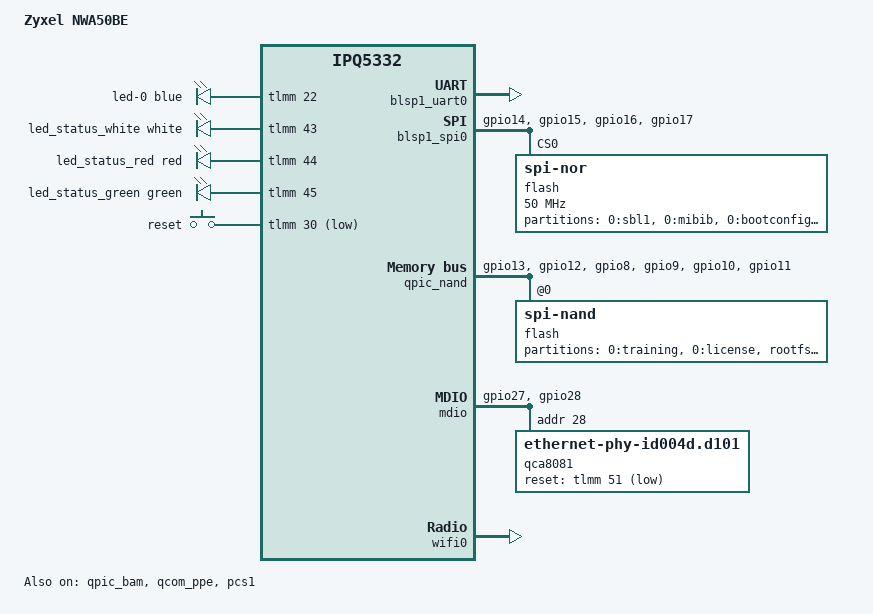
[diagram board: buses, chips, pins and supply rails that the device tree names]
// SPDX-License-Identifier: GPL-2.0-or-later OR MIT

/dts-v1/;

#include <arm64/qcom/ipq5332.dtsi>
#include <dt-bindings/gpio/gpio.h>
#include <dt-bindings/input/input.h>
#include <dt-bindings/leds/common.h>

/ {
	model = "Zyxel NWA50BE";
	compatible = "zyxel,nwa50be", "qcom,ipq5332";

	aliases {
		serial0 = &blsp1_uart0;
		led-boot = &led_status_green;
		led-failsafe = &led_status_red;
		led-running = &led_status_green;
		led-upgrade = &led_status_white;
		label-mac-device = &port_uplink;
	};

	chosen {
		stdout-path = "serial0:115200n8";
		bootargs-append = " root=/dev/ubiblock0_1";
	};

	reserved-memory {
		m3_dump: m3-dump@4d400000 {
			reg = <0x0 0x4d400000 0x0 0x100000>;
			no-map;
		};

		q6_caldb: q6-caldb@4d500000 {
			reg = <0x0 0x4d500000 0x0 0x500000>;
			no-map;
		};

		mlo_mem: mlo-global-mem@4db00000 {
			reg = <0x0 0x4db00000 0x0 0x1200000>;
			no-map;
		};
	};

	leds {
		compatible = "gpio-leds";
		pinctrl-0 = <&led_pins>;
		pinctrl-names = "default";

		led-0 {
			color = <LED_COLOR_ID_BLUE>;
			function = LED_FUNCTION_STATUS;
			gpios = <&tlmm 22 GPIO_ACTIVE_HIGH>;
		};

		led_status_white: led-1 {
			color = <LED_COLOR_ID_WHITE>;
			function = LED_FUNCTION_STATUS;
			gpios = <&tlmm 43 GPIO_ACTIVE_HIGH>;
		};

		led_status_red: led-2 {
			color = <LED_COLOR_ID_RED>;
			function = LED_FUNCTION_STATUS;
			gpios = <&tlmm 44 GPIO_ACTIVE_HIGH>;
		};

		led_status_green: led-3 {
			color = <LED_COLOR_ID_GREEN>;
			function = LED_FUNCTION_STATUS;
			gpios = <&tlmm 45 GPIO_ACTIVE_HIGH>;
		};
	};

	keys {
		compatible = "gpio-keys";
		pinctrl-0 = <&button_pins>;
		pinctrl-names = "default";

		reset-button {
			label = "reset";
			linux,code = <KEY_RESTART>;
			gpios = <&tlmm 30 GPIO_ACTIVE_LOW>;
			debounce-interval = <60>;
		};
	};
};

&blsp1_uart0 {
	pinctrl-0 = <&serial_0_pins>;
	pinctrl-names = "default";
	status = "okay";
};

&sleep_clk {
	clock-frequency = <32000>;
};

&xo_board {
	clock-frequency = <24000000>;
};

&blsp1_spi0 {
	pinctrl-0 = <&spi_0_data_clk_pins &spi_0_cs_pins>;
	pinctrl-names = "default";
	status = "okay";

	flash@0 {
		compatible = "jedec,spi-nor";
		reg = <0>;
		spi-max-frequency = <50000000>;

		partitions {
			compatible = "fixed-partitions";
			#address-cells = <1>;
			#size-cells = <1>;

			partition@0 {
				label = "0:sbl1";
				reg = <0x000000 0x080000>;
				read-only;
			};

			partition@80000 {
				label = "0:mibib";
				reg = <0x080000 0x010000>;
				read-only;
			};

			partition@90000 {
				label = "0:bootconfig";
				reg = <0x090000 0x010000>;
			};

			partition@a0000 {
				label = "0:qsee";
				reg = <0x0a0000 0x170000>;
				read-only;
			};

			partition@210000 {
				label = "0:devcfg";
				reg = <0x210000 0x010000>;
				read-only;
			};

			partition@220000 {
				label = "0:tme";
				reg = <0x220000 0x020000>;
				read-only;
			};

			partition@240000 {
				label = "0:cdt";
				reg = <0x240000 0x010000>;
				read-only;
			};

			partition@250000 {
				label = "0:appsblenv";
				reg = <0x250000 0x010000>;
			};

			partition@260000 {
				label = "0:appsbl";
				reg = <0x260000 0x0a0000>;
				read-only;
			};

			partition@300000 {
				label = "0:art";
				reg = <0x300000 0x100000>;
				read-only;
			};

			partition@400000 {
				label = "0:bootconfig1";
				reg = <0x400000 0x010000>;
			};

			partition@410000 {
				label = "0:qsee_1";
				reg = <0x410000 0x170000>;
				read-only;
			};

			partition@580000 {
				label = "0:devcfg_1";
				reg = <0x580000 0x010000>;
				read-only;
			};

			partition@590000 {
				label = "0:tme_1";
				reg = <0x590000 0x020000>;
				read-only;
			};

			partition@5b0000 {
				label = "0:cdt_1";
				reg = <0x5b0000 0x010000>;
				read-only;
			};

			partition@5c0000 {
				label = "0:appsbl_1";
				reg = <0x5c0000 0x0a0000>;
				read-only;
			};

			partition@660000 {
				label = "mrd";
				reg = <0x660000 0x010000>;
				read-only;

				nvmem-layout {
					compatible = "fixed-layout";
					#address-cells = <1>;
					#size-cells = <1>;

					macaddr_mrd_fff8: macaddr@fff8 {
						compatible = "mac-base";
						reg = <0xfff8 0x6>;
						#nvmem-cell-cells = <1>;
					};
				};
			};

			partition@670000 {
				label = "mrd_1";
				reg = <0x670000 0x010000>;
				read-only;
			};

			partition@680000 {
				label = "reserved";
				reg = <0x680000 0x980000>;
				read-only;
			};
		};
	};
};

&qpic_bam {
	status = "okay";
};

&qpic_nand {
	pinctrl-0 = <&qspi_pins>;
	pinctrl-names = "default";
	status = "okay";

	flash@0 {
		compatible = "spi-nand";
		reg = <0>;
		nand-ecc-engine = <&qpic_nand>;
		nand-ecc-strength = <8>;
		nand-ecc-step-size = <512>;

		partitions {
			compatible = "fixed-partitions";
			#address-cells = <1>;
			#size-cells = <1>;

			partition@0 {
				label = "0:training";
				reg = <0x0000000 0x0080000>;
				read-only;
			};

			partition@80000 {
				label = "0:license";
				reg = <0x0080000 0x0040000>;
				read-only;
			};

			/* image0: U-Boot always passes ubi.mtd=rootfs */
			partition@c0000 {
				label = "rootfs";
				reg = <0x00c0000 0x4600000>;
				linux,rootfs;
			};

			/* image1 */
			partition@46c0000 {
				label = "rootfs_1";
				reg = <0x46c0000 0x4600000>;
			};

			partition@8cc0000 {
				label = "zyxel_rootfs_data";
				reg = <0x8cc0000 0x3c00000>;
				read-only;
			};

			partition@c8c0000 {
				label = "logs";
				reg = <0xc8c0000 0x2840000>;
			};

			partition@f100000 {
				label = "myzyxel";
				reg = <0xf100000 0x0f00000>;
				read-only;
			};
		};
	};
};

&mdio {
	pinctrl-0 = <&mdio1_pins>;
	pinctrl-names = "default";
	status = "okay";

	qca8081: ethernet-phy@1c {
		compatible = "ethernet-phy-id004d.d101";
		reg = <28>;
		reset-gpios = <&tlmm 51 GPIO_ACTIVE_LOW>;
		reset-assert-us = <10000>;
		reset-deassert-us = <150000>;

		leds {
			#address-cells = <1>;
			#size-cells = <0>;

			/* 2.5G link/activity */
			led@0 {
				reg = <0>;
				color = <LED_COLOR_ID_GREEN>;
				function = LED_FUNCTION_LAN;
				default-state = "keep";
			};

			/* 10/100/1000 link/activity */
			led@2 {
				reg = <2>;
				color = <LED_COLOR_ID_AMBER>;
				function = LED_FUNCTION_LAN;
				default-state = "keep";
			};
		};
	};
};

&q6v5_wcss {
	firmware-name = "ath12k/IPQ5332/hw1.0/q6_fw0.mdt";
	qcom,bootargs_smem = <507>;
	upd-firmware-names = "ath12k/IPQ5332/hw1.0/q6_fw1.mdt";
};

&qcom_ppe {
	status = "okay";

	ethernet-ports {
		#address-cells = <1>;
		#size-cells = <0>;

		port_uplink: port@2 {
			reg = <2>;
			label = "uplink";
			phy-mode = "sgmii";
			managed = "in-band-status";
			phy-handle = <&qca8081>;
			pcs-handle = <&pcs1_ch0>;
			nvmem-cells = <&macaddr_mrd_fff8 0>;
			nvmem-cell-names = "mac-address";
			clocks = <&nsscc NSS_CC_PORT2_MAC_CLK>,
				 <&nsscc NSS_CC_PORT2_RX_CLK>,
				 <&nsscc NSS_CC_PORT2_TX_CLK>;
			clock-names = "mac",
				      "rx",
				      "tx";
			resets = <&nsscc NSS_CC_PORT2_MAC_CLK_ARES>,
				 <&nsscc NSS_CC_PORT2_RX_CLK_ARES>,
				 <&nsscc NSS_CC_PORT2_TX_CLK_ARES>;
			reset-names = "mac",
				      "rx",
				      "tx";
		};
	};
};

&pcs1 {
	status = "okay";
};

&tlmm {
	button_pins: button-state {
		pins = "gpio30";
		function = "gpio";
		drive-strength = <8>;
		bias-pull-up;
	};

	led_pins: led-state {
		pins = "gpio22", "gpio43", "gpio44", "gpio45";
		function = "gpio";
		drive-strength = <8>;
		bias-pull-down;
	};

	mdio1_pins: mdio1-state {
		mdc-pins {
			pins = "gpio27";
			function = "mdc1";
			drive-strength = <8>;
			bias-disable;
		};

		mdio-pins {
			pins = "gpio28";
			function = "mdio1";
			drive-strength = <8>;
			bias-pull-up;
		};
	};

	qspi_pins: qspi-state {
		clk-pins {
			pins = "gpio13";
			function = "qspi_clk";
			drive-strength = <8>;
			bias-pull-down;
		};

		cs-pins {
			pins = "gpio12";
			function = "qspi_cs";
			drive-strength = <8>;
			bias-pull-up;
		};

		data-pins {
			pins = "gpio8", "gpio9", "gpio10", "gpio11";
			function = "qspi_data";
			drive-strength = <8>;
			bias-pull-down;
		};
	};

	spi_0_data_clk_pins: spi-0-data-clk-state {
		pins = "gpio14", "gpio15", "gpio16";
		function = "blsp0_spi";
		drive-strength = <2>;
		bias-pull-down;
	};

	spi_0_cs_pins: spi-0-cs-state {
		pins = "gpio17";
		function = "blsp0_spi";
		drive-strength = <2>;
		bias-pull-up;
	};
};

&wifi0 {
	memory-region = <&q6_region>, <&m3_dump>, <&q6_caldb>, <&mlo_mem>;
	memory-region-names = "q6-region", "m3-dump", "q6-caldb", "mlo-global-mem";
	qcom,ath12k-board-id = <18>;
	qcom,rproc = <&q6v5_wcss>;
	status = "okay";
};
